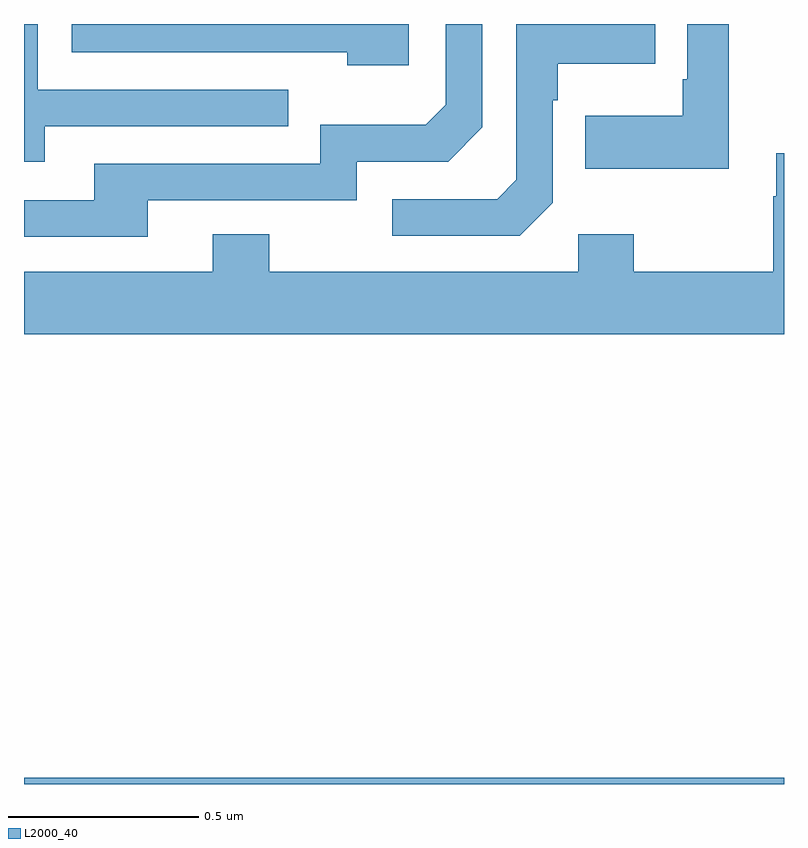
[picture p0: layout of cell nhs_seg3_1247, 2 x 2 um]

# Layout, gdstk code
import gdstk
lib = gdstk.Library(unit=1e-6, precision=1e-09)
def R(c, l, rs):  # rectangles x0, y0, x1, y1
    for r in rs: c.add(gdstk.rectangle(r[:2], r[2:], *l))
def P(c, l, *ps):  # polygons
    for p in ps: c.add(gdstk.Polygon(p, *l))
L2000_40 = (2000, 40)

nhs_seg3_1247 = lib.new_cell('nhs_seg3_1247')
R(nhs_seg3_1247, L2000_40, [(126,698.4,128,698.416)])
P(nhs_seg3_1247, L2000_40, [(127.392,699.93),(127.392,700.199),(127.405,700.199),(127.405,700.295),(127.661,700.295),(127.661,700.4),(127.296,700.4),(127.296,699.99),(127.245,699.939),(126.969,699.939),(126.969,699.843),(127.305,699.843)],
  [(126.325,699.936),(126.876,699.936),(126.876,700.038),(127.116,700.038),(127.206,700.128),(127.206,700.4),(127.11,700.4),(127.11,700.188),(127.057,700.135),(126.78,700.135),(126.78,700.032),(126.185,700.032),(126.185,699.936),(126,699.936),(126,699.84),(126.325,699.84)],
  [(127.012,700.4),(126.126,700.4),(126.126,700.326),(126.851,700.326),(126.851,700.292),(127.012,700.292)],
  [(126.055,700.131),(126.695,700.131),(126.695,700.227),(126.036,700.227),(126.036,700.4),(126,700.4),(126,700.037),(126.055,700.037)],
  [(127.855,700.4),(127.746,700.4),(127.746,700.255),(127.734,700.255),(127.734,700.159),(127.477,700.159),(127.477,700.019),(127.855,700.019)],
  [(128,700.06),(127.979,700.06),(127.979,699.947),(127.972,699.947),(127.972,699.748),(127.605,699.748),(127.605,699.847),(127.458,699.847),(127.458,699.748),(126.645,699.748),(126.645,699.847),(126.497,699.847),(126.497,699.748),(126,699.748),(126,699.584),(128,699.584)])

lib.write_gds('nhs_seg3_1247.gds')
